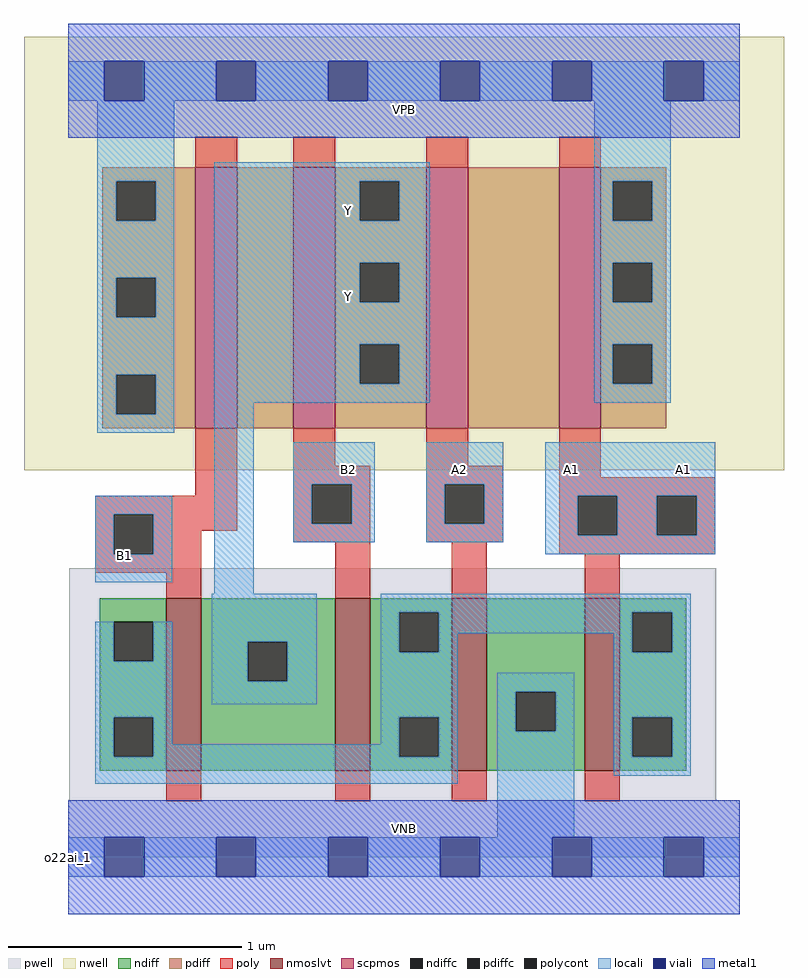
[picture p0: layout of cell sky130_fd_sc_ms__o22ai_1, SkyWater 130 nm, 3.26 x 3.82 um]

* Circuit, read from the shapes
.subckt sky130_fd_sc_ms__o22ai_1 A1 A2 B1 B2 VGND VNB VPB VPWR Y
XM1 Y B1 n1 VNB sky130_fd_pr__nfet_01v8_lvt w=0.74 l=0.15
XM2 n1 B2 Y VNB sky130_fd_pr__nfet_01v8_lvt w=0.74 l=0.15
XM3 VGND A2 n1 VNB sky130_fd_pr__nfet_01v8_lvt w=0.74 l=0.15
XM4 n1 A1 VGND VNB sky130_fd_pr__nfet_01v8_lvt w=0.74 l=0.15
XM5 n2 B1 VPWR VPB sky130_fd_pr__pfet_01v8 w=1.12 l=0.18
XM6 Y B2 n2 VPB sky130_fd_pr__pfet_01v8 w=1.12 l=0.18
XM7 n3 A2 Y VPB sky130_fd_pr__pfet_01v8 w=1.12 l=0.18
XM8 VPWR A1 n3 VPB sky130_fd_pr__pfet_01v8 w=1.12 l=0.18
.ends

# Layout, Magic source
magic
tech sky130A
magscale 1 2
<< nwell >>
rect -38 332 614 704
<< pwell >>
rect 1 49 556 248
rect 0 0 576 49
<< scpmos >>
rect 109 368 145 592
rect 193 368 229 592
rect 307 368 343 592
rect 421 368 457 592
<< nmoslvt >>
rect 84 74 114 222
rect 229 74 259 222
rect 329 74 359 222
rect 443 74 473 222
<< ndiff >>
rect 27 202 84 222
rect 27 168 39 202
rect 73 168 84 202
rect 27 120 84 168
rect 27 86 39 120
rect 73 86 84 120
rect 27 74 84 86
rect 114 185 229 222
rect 114 151 154 185
rect 188 151 229 185
rect 114 74 229 151
rect 259 210 329 222
rect 259 176 284 210
rect 318 176 329 210
rect 259 120 329 176
rect 259 86 284 120
rect 318 86 329 120
rect 259 74 329 86
rect 359 142 443 222
rect 359 108 384 142
rect 418 108 443 142
rect 359 74 443 108
rect 473 210 530 222
rect 473 176 484 210
rect 518 176 530 210
rect 473 120 530 176
rect 473 86 484 120
rect 518 86 530 120
rect 473 74 530 86
<< pdiff >>
rect 29 580 109 592
rect 29 546 41 580
rect 75 546 109 580
rect 29 497 109 546
rect 29 463 41 497
rect 75 463 109 497
rect 29 414 109 463
rect 29 380 41 414
rect 75 380 109 414
rect 29 368 109 380
rect 145 368 193 592
rect 229 580 307 592
rect 229 546 250 580
rect 284 546 307 580
rect 229 510 307 546
rect 229 476 250 510
rect 284 476 307 510
rect 229 440 307 476
rect 229 406 250 440
rect 284 406 307 440
rect 229 368 307 406
rect 343 368 421 592
rect 457 580 513 592
rect 457 546 467 580
rect 501 546 513 580
rect 457 510 513 546
rect 457 476 467 510
rect 501 476 513 510
rect 457 440 513 476
rect 457 406 467 440
rect 501 406 513 440
rect 457 368 513 406
<< ndiffc >>
rect 39 168 73 202
rect 39 86 73 120
rect 154 151 188 185
rect 284 176 318 210
rect 284 86 318 120
rect 384 108 418 142
rect 484 176 518 210
rect 484 86 518 120
<< pdiffc >>
rect 41 546 75 580
rect 41 463 75 497
rect 41 380 75 414
rect 250 546 284 580
rect 250 476 284 510
rect 250 406 284 440
rect 467 546 501 580
rect 467 476 501 510
rect 467 406 501 440
<< poly >>
rect 109 592 145 618
rect 193 592 229 618
rect 307 592 343 618
rect 421 592 457 618
rect 109 310 145 368
rect 23 294 145 310
rect 23 260 39 294
rect 73 280 145 294
rect 193 336 229 368
rect 307 336 343 368
rect 193 320 259 336
rect 193 286 209 320
rect 243 286 259 320
rect 73 260 114 280
rect 193 270 259 286
rect 307 320 373 336
rect 307 286 323 320
rect 357 286 373 320
rect 307 270 373 286
rect 421 326 457 368
rect 421 310 555 326
rect 421 276 437 310
rect 471 276 505 310
rect 539 276 555 310
rect 23 244 114 260
rect 84 222 114 244
rect 229 222 259 270
rect 329 222 359 270
rect 421 260 555 276
rect 443 222 473 260
rect 84 48 114 74
rect 229 48 259 74
rect 329 48 359 74
rect 443 48 473 74
<< polycont >>
rect 39 260 73 294
rect 209 286 243 320
rect 323 286 357 320
rect 437 276 471 310
rect 505 276 539 310
<< locali >>
rect 0 649 31 683
rect 65 649 127 683
rect 161 649 223 683
rect 257 649 319 683
rect 353 649 415 683
rect 449 649 511 683
rect 545 649 576 683
rect 25 580 91 649
rect 25 546 41 580
rect 75 546 91 580
rect 25 497 91 546
rect 25 463 41 497
rect 75 463 91 497
rect 25 414 91 463
rect 25 380 41 414
rect 75 380 91 414
rect 25 364 91 380
rect 125 580 310 596
rect 125 546 250 580
rect 284 546 310 580
rect 125 510 310 546
rect 125 476 250 510
rect 284 476 310 510
rect 125 440 310 476
rect 125 406 250 440
rect 284 406 310 440
rect 125 390 310 406
rect 451 580 517 649
rect 451 546 467 580
rect 501 546 517 580
rect 451 510 517 546
rect 451 476 467 510
rect 501 476 517 510
rect 451 440 517 476
rect 451 406 467 440
rect 501 406 517 440
rect 451 390 517 406
rect 23 294 89 310
rect 23 260 39 294
rect 73 260 89 294
rect 23 236 89 260
rect 125 226 159 390
rect 193 320 263 356
rect 193 286 209 320
rect 243 286 263 320
rect 193 270 263 286
rect 307 320 373 356
rect 307 286 323 320
rect 357 286 373 320
rect 307 270 373 286
rect 409 310 555 356
rect 409 276 437 310
rect 471 276 505 310
rect 539 276 555 310
rect 409 260 555 276
rect 23 168 39 202
rect 73 168 89 202
rect 23 120 89 168
rect 123 185 213 226
rect 123 151 154 185
rect 188 151 213 185
rect 123 131 213 151
rect 268 210 534 226
rect 268 176 284 210
rect 318 192 484 210
rect 318 176 334 192
rect 23 86 39 120
rect 73 97 89 120
rect 268 120 334 176
rect 468 176 484 192
rect 518 176 534 210
rect 268 97 284 120
rect 73 86 284 97
rect 318 86 334 120
rect 23 63 334 86
rect 368 142 434 158
rect 368 108 384 142
rect 418 108 434 142
rect 368 17 434 108
rect 468 120 534 176
rect 468 86 484 120
rect 518 86 534 120
rect 468 70 534 86
rect 0 -17 31 17
rect 65 -17 127 17
rect 161 -17 223 17
rect 257 -17 319 17
rect 353 -17 415 17
rect 449 -17 511 17
rect 545 -17 576 17
<< viali >>
rect 31 649 65 683
rect 127 649 161 683
rect 223 649 257 683
rect 319 649 353 683
rect 415 649 449 683
rect 511 649 545 683
rect 31 -17 65 17
rect 127 -17 161 17
rect 223 -17 257 17
rect 319 -17 353 17
rect 415 -17 449 17
rect 511 -17 545 17
<< metal1 >>
rect 0 683 576 715
rect 0 649 31 683
rect 65 649 127 683
rect 161 649 223 683
rect 257 649 319 683
rect 353 649 415 683
rect 449 649 511 683
rect 545 649 576 683
rect 0 617 576 649
rect 0 17 576 49
rect 0 -17 31 17
rect 65 -17 127 17
rect 161 -17 223 17
rect 257 -17 319 17
rect 353 -17 415 17
rect 449 -17 511 17
rect 545 -17 576 17
rect 0 -49 576 -17
<< labels >>
flabel pwell s 0 0 576 49 0 FreeSans 200 0 0 0 VNB
port 6 nsew ground bidirectional
flabel nwell s 0 617 576 666 0 FreeSans 200 0 0 0 VPB
port 7 nsew power bidirectional
rlabel comment s 0 0 0 0 4 o22ai_1
flabel metal1 s 0 617 576 666 0 FreeSans 340 0 0 0 VPWR
port 8 nsew power bidirectional
flabel metal1 s 0 0 576 49 0 FreeSans 340 0 0 0 VGND
port 5 nsew ground bidirectional
flabel locali s 223 316 257 350 0 FreeSans 340 0 0 0 B2
port 4 nsew signal input
flabel locali s 31 242 65 276 0 FreeSans 340 0 0 0 B1
port 3 nsew signal input
flabel locali s 223 464 257 498 0 FreeSans 340 0 0 0 Y
port 9 nsew signal output
flabel locali s 223 538 257 572 0 FreeSans 340 0 0 0 Y
port 9 nsew signal output
flabel locali s 319 316 353 350 0 FreeSans 340 0 0 0 A2
port 2 nsew signal input
flabel locali s 415 316 449 350 0 FreeSans 340 0 0 0 A1
port 1 nsew signal input
flabel locali s 511 316 545 350 0 FreeSans 340 0 0 0 A1
port 1 nsew signal input
<< properties >>
string LEFsite unit
string LEFclass CORE
string FIXED_BBOX 0 0 576 666
string GDS_FILE $PDKPATH/libs.ref/sky130_fd_sc_ms/gds/sky130_fd_sc_ms.gds
string LEFsymmetry X Y
string GDS_END 1194728
string GDS_START 1189176
<< end >>
